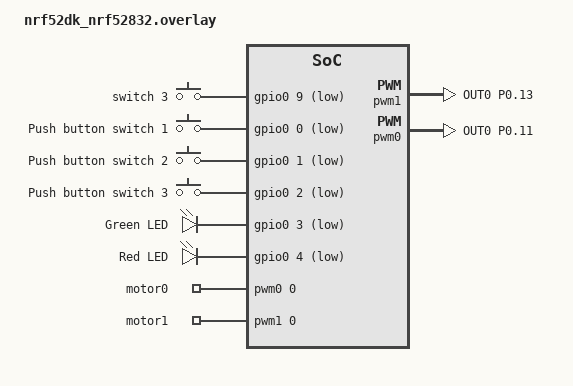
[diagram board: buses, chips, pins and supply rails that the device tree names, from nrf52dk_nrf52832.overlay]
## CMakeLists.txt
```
cmake_minimum_required(VERSION 3.20.0)
find_package(Zephyr REQUIRED HINTS $ENV{ZEPHYR_BASE})

project(pump_control)

target_sources(app PRIVATE src/main.c)
```

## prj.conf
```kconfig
CONFIG_PWM=y
CONFIG_LED=y
CONFIG_LED_PWM=y

CONFIG_GPIO=y
CONFIG_USE_SEGGER_RTT=y
CONFIG_SERIAL=n
CONFIG_CONSOLE=y
CONFIG_PRINTK=y
CONFIG_RTT_CONSOLE=y
```

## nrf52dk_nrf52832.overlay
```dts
/ {
    buttons {
        compatible = "gpio-keys";
        button0: button_0 { 
            gpios = <&gpio0 9 (GPIO_PULL_UP | GPIO_ACTIVE_LOW)>;
            label = "switch 3";
        };
        button1: button_1 {
			gpios = <&gpio0 0 (GPIO_PULL_UP | GPIO_ACTIVE_LOW)>;
			label = "Push button switch 1";
			zephyr,code = <INPUT_KEY_1>;
		};
		button2: button_2 {
			gpios = <&gpio0 1 (GPIO_PULL_UP | GPIO_ACTIVE_LOW)>;
			label = "Push button switch 2";
			zephyr,code = <INPUT_KEY_2>;
		};
		button3: button_3 {
			gpios = <&gpio0 2 (GPIO_PULL_UP | GPIO_ACTIVE_LOW)>;
			label = "Push button switch 3";
			zephyr,code = <INPUT_KEY_3>;
		};
    };

    leds {
        compatible = "gpio-leds";
        led0: led_0 {
            gpios = <&gpio0 3 GPIO_ACTIVE_LOW>;
            label = "Green LED";
        };
        led1: led_1 {
            gpios = <&gpio0 4 GPIO_ACTIVE_LOW>;
            label = "Red LED";
        };
    };

    motor {
        compatible = "pwm-leds";
        motor0: motor0{
            pwms = <&pwm0 0 PWM_MSEC(20) PWM_POLARITY_NORMAL>;
        };
        motor1: motor1{
            pwms = <&pwm1 0 PWM_MSEC(20) PWM_POLARITY_NORMAL>;
        };
    };
        

    aliases {
        sw3 = &button0;
        motor0 = &motor0;
        motor1 = &motor1;
    };
};

&pinctrl {
    pwm0_custom: pwm0_custom {
        group1 {
            psels = <NRF_PSEL(PWM_OUT0, 0, 11)>;
            nordic,invert;
        };
    };

    pwm0_csleep: pwm0_csleep {
        group1 {
            psels = <NRF_PSEL(PWM_OUT0, 0, 11)>;
            low-power-enable;
        };
    };

    pwm1_custom_motor: pwm1_custom_motor {
        group1 {
            psels = <NRF_PSEL(PWM_OUT0, 0, 13)>;
            nordic,invert;
        };
    };

    pwm1_csleep_motor: pwm1_csleep_motor {
        group1 {
            psels = <NRF_PSEL(PWM_OUT0, 0, 13)>;
            low-power-enable;
        };
    };
};

&pwm1 {
    status = "okay";
    pinctrl-0 = <&pwm1_custom_motor>;
    pinctrl-1 = <&pwm1_csleep_motor>;
    pinctrl-names = "default", "sleep";
};

&pwm0 {
    status = "okay";
    pinctrl-0 = <&pwm0_custom>;
    pinctrl-1 = <&pwm0_csleep>;
    pinctrl-names = "default", "sleep";
};

&uicr {
    nfct-pins-as-gpios;
};
```

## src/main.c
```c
#include <zephyr/device.h>
#include <zephyr/kernel.h>
#include <zephyr/drivers/pwm.h>
#include <zephyr/devicetree.h>
#include <zephyr/drivers/gpio.h>

#define AIN2_PIN 10
#define AIN1_PIN 12
#define STBY_PIN 14
#define BIN1_PIN 16
#define BIN2_PIN 18

#define SLEEP_TIME_MS   100
#define PWM_frequency   100000
#define PWM_PERIOD_NS   10000000
#define PWM_DUTY_CYCLE   PWM_PULSE/PWM_PERIOD_NS
#define PWM_PULSE    9000000

#define PWM_MOTOR_A    DT_ALIAS(motor0)
static const struct pwm_dt_spec motorA = PWM_DT_SPEC_GET(PWM_MOTOR_A); //pin 11 pwmA
#define PWM_MOTOR_B    DT_ALIAS(motor1)
static const struct pwm_dt_spec motorB = PWM_DT_SPEC_GET(PWM_MOTOR_B); //pin 13 pwmB

static const struct device *gpio_dev = DEVICE_DT_GET(DT_NODELABEL(gpio0));


#define SW3_NODE	DT_ALIAS(sw3)
static const struct gpio_dt_spec button = GPIO_DT_SPEC_GET(SW3_NODE, gpios);
static struct gpio_callback button_cb_data;

int phase = 0;

void button_pressed(const struct device *dev, struct gpio_callback *cb, uint32_t pins)
{
    phase += 1 ;
    if(phase>2){
        phase = 0 ;
    }
    if(phase == 1){
        pwm_set_dt(&motorA, PWM_PERIOD_NS, PWM_PULSE);
		pwm_set_dt(&motorB, PWM_PERIOD_NS, 0);
        printk("motorA on\n");

    } else if(phase == 2){
        pwm_set_dt(&motorB, PWM_PERIOD_NS, PWM_PULSE);
        pwm_set_dt(&motorA, PWM_PERIOD_NS, 0);
        printk("motorB on\n");
    } else if (phase == 0){
        pwm_set_dt(&motorA, PWM_PERIOD_NS, 0);
		pwm_set_dt(&motorB, PWM_PERIOD_NS, 0);
        printk("all motor off\n");
    } 

}

int main(void)
{
    if (!pwm_is_ready_dt(&motorA)) {
        printk("Error: PWM device %s is not ready\n", motorA.dev->name);
        return -1;
    }

    if (!device_is_ready(button.port)) {
        printk("Error: Button device %s is not ready\n", button.port->name);
        return -1;
    }
	int ret = gpio_pin_configure(gpio_dev, AIN2_PIN, GPIO_OUTPUT );	//AIN2
	ret = gpio_pin_configure(gpio_dev, AIN1_PIN, GPIO_OUTPUT );//AIN1
	ret = gpio_pin_configure(gpio_dev, STBY_PIN, GPIO_OUTPUT );//STBY
	ret = gpio_pin_configure(gpio_dev, BIN1_PIN, GPIO_OUTPUT );//BIN1
	ret = gpio_pin_configure(gpio_dev, BIN2_PIN, GPIO_OUTPUT );//BIN2
	ret = gpio_pin_set(gpio_dev,AIN2_PIN,1);
	ret = gpio_pin_set(gpio_dev,AIN1_PIN,0);
	ret = gpio_pin_set(gpio_dev,STBY_PIN,1);
	ret = gpio_pin_set(gpio_dev,BIN1_PIN,1);
	ret = gpio_pin_set(gpio_dev,BIN2_PIN,0);

    ret = gpio_pin_configure_dt(&button, GPIO_INPUT);

    ret = gpio_pin_interrupt_configure_dt(&button, GPIO_INT_EDGE_TO_ACTIVE);
    if (ret != 0) {
        printk("Error %d: failed to configure interrupt\n", ret);
        return ret;
    }

    gpio_init_callback(&button_cb_data, button_pressed, BIT(button.pin));
    gpio_add_callback(button.port, &button_cb_data);

    while (1) {
        k_msleep(SLEEP_TIME_MS);
    }

    return 0;
}
```
